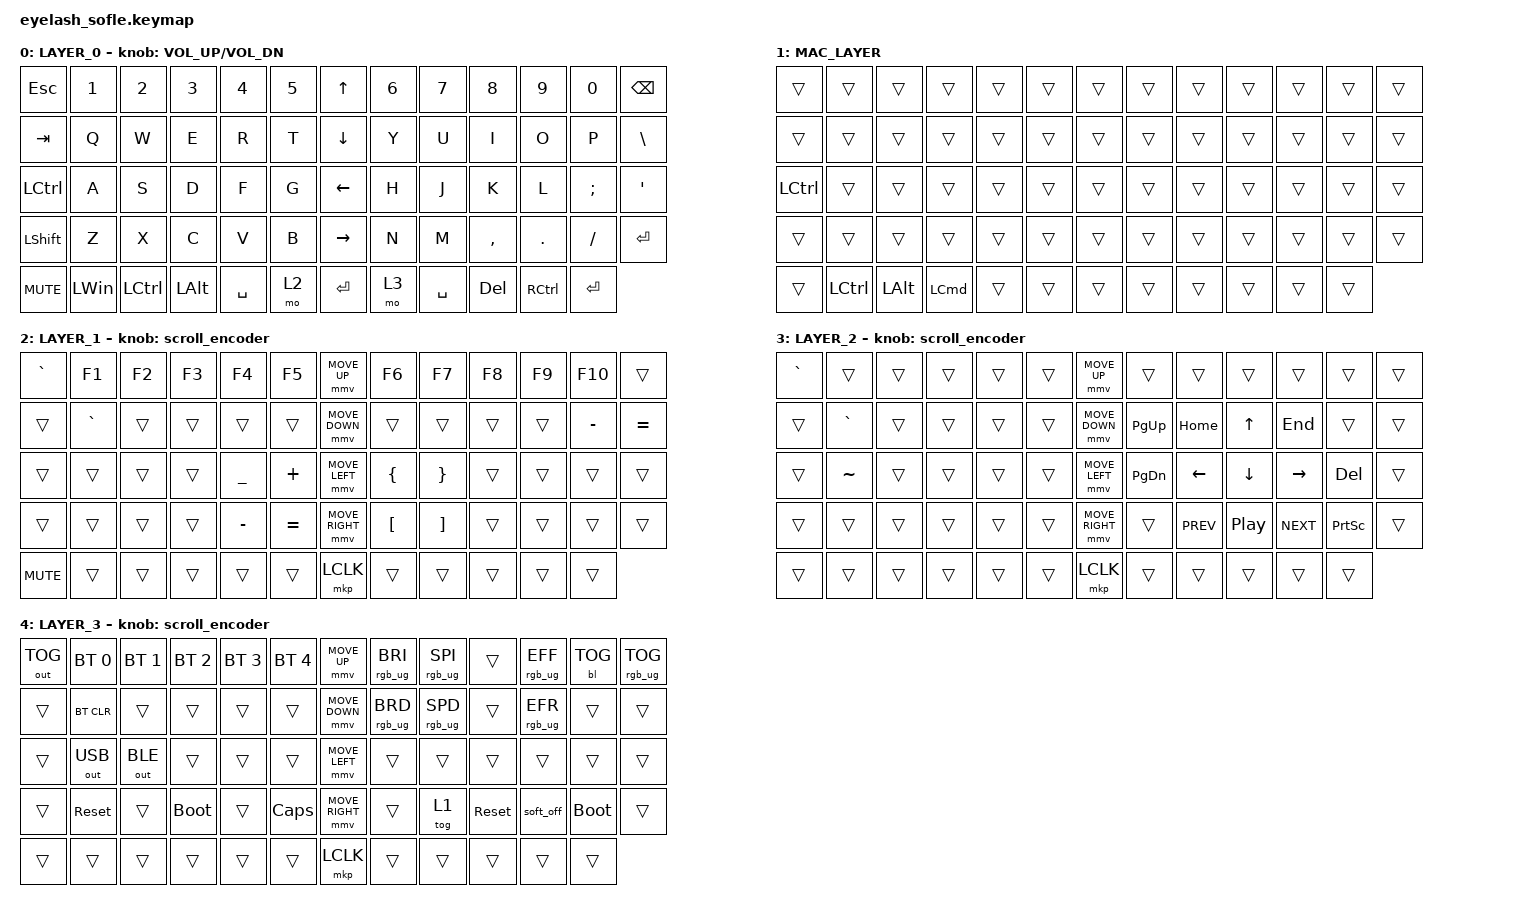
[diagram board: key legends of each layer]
#define ZMK_POINTING_DEFAULT_MOVE_VAL 1200  // 600
#define ZMK_POINTING_DEFAULT_SCRL_VAL 25   // 10

#include <input/processors.dtsi>
#include <zephyr/dt-bindings/input/input-event-codes.h>
#include <behaviors.dtsi>
#include <dt-bindings/zmk/backlight.h>
#include <dt-bindings/zmk/bt.h>
#include <dt-bindings/zmk/keys.h>
#include <dt-bindings/zmk/outputs.h>
#include <dt-bindings/zmk/pointing.h>
#include <dt-bindings/zmk/rgb.h>

&mmv_input_listener { input-processors = <&zip_xy_scaler 2 1>; };

&msc_input_listener { input-processors = <&zip_scroll_scaler 2 1>; };

&msc {
    acceleration-exponent = <1>;      // 0
    time-to-max-speed-ms = <100>;       // 300
    delay-ms = <0>;                   // 0
};

&mmv {
    time-to-max-speed-ms = <500>;
    acceleration-exponent = <1>;
    trigger-period-ms = <16>;
};

/ {
    scroll_encoder: scroll_encoder {
        compatible = "zmk,behavior-sensor-rotate";
        #sensor-binding-cells = <0>;
        bindings = <&msc SCRL_DOWN>, <&msc SCRL_UP>;

        tap-ms = <100>;
    };

    behaviors {
    };

    keymap {
        compatible = "zmk,keymap";

        LAYER_0 {
            bindings = <
&kp ESCAPE        &kp N1        &kp N2            &kp N3        &kp N4     &kp N5    &kp UP_ARROW     &kp N6  &kp N7     &kp N8      &kp N9             &kp N0      &kp BACKSPACE
&kp TAB           &kp Q         &kp W             &kp E         &kp R      &kp T     &kp DOWN_ARROW   &kp Y   &kp U      &kp I       &kp O              &kp P       &kp BSLH
&kp LEFT_CONTROL  &kp A         &kp S             &kp D         &kp F      &kp G     &kp LEFT_ARROW   &kp H   &kp J      &kp K       &kp L              &kp SEMI    &kp APOS
&kp LSHFT         &kp Z         &kp X             &kp C         &kp V      &kp B     &kp RIGHT_ARROW  &kp N   &kp M      &kp COMMA   &kp DOT            &kp FSLH    &kp ENTER
&kp C_MUTE        &kp LEFT_WIN  &kp LEFT_CONTROL  &kp LEFT_ALT  &kp SPACE  &mo 2     &kp ENTER        &mo 3   &kp SPACE  &kp DELETE  &kp RIGHT_CONTROL  &kp RETURN
            >;

            sensor-bindings = <&inc_dec_kp C_VOLUME_UP C_VOL_DN>;
            display-name = "LAYER_0";
        };

        MAC_LAYER {
            bindings = <
&trans     &trans            &trans        &trans    &trans  &trans    &trans  &trans  &trans  &trans  &trans  &trans  &trans
&trans     &trans            &trans        &trans    &trans  &trans    &trans  &trans  &trans  &trans  &trans  &trans  &trans
&kp LCTRL  &trans            &trans        &trans    &trans  &trans    &trans  &trans  &trans  &trans  &trans  &trans  &trans
&trans     &trans            &trans        &trans    &trans  &trans    &trans  &trans  &trans  &trans  &trans  &trans  &trans
&trans     &kp LEFT_CONTROL  &kp LEFT_ALT  &kp LCMD  &trans  &trans    &trans  &trans  &trans  &trans  &trans  &trans
            >;

            display-name = "MAC_LAYER";
        };

        LAYER_1 {
            bindings = <
&kp GRAVE   &kp F1     &kp F2  &kp F3  &kp F4          &kp F5       &mmv MOVE_UP     &kp F6            &kp F7             &kp F8  &kp F9  &kp F10    &trans
&trans      &kp GRAVE  &trans  &trans  &trans          &trans       &mmv MOVE_DOWN   &trans            &trans             &trans  &trans  &kp MINUS  &kp EQUAL
&trans      &trans     &trans  &trans  &kp UNDERSCORE  &kp PLUS     &mmv MOVE_LEFT   &kp LEFT_BRACE    &kp RIGHT_BRACE    &trans  &trans  &trans     &trans
&trans      &trans     &trans  &trans  &kp MINUS       &kp EQUAL    &mmv MOVE_RIGHT  &kp LEFT_BRACKET  &kp RIGHT_BRACKET  &trans  &trans  &trans     &trans
&kp C_MUTE  &trans     &trans  &trans  &trans          &trans       &mkp LCLK        &trans            &trans             &trans  &trans  &trans
            >;

            display-name = "LAYER_1";
            sensor-bindings = <&scroll_encoder>;
        };

        LAYER_2 {
            bindings = <
&kp GRAVE  &trans     &trans  &trans  &trans  &trans    &mmv MOVE_UP     &trans     &trans      &trans            &trans      &trans           &trans
&trans     &kp GRAVE  &trans  &trans  &trans  &trans    &mmv MOVE_DOWN   &kp PG_UP  &kp HOME    &kp UP            &kp END     &trans           &trans
&trans     &kp TILDE  &trans  &trans  &trans  &trans    &mmv MOVE_LEFT   &kp PG_DN  &kp LEFT    &kp DOWN          &kp RIGHT   &kp DELETE       &trans
&trans     &trans     &trans  &trans  &trans  &trans    &mmv MOVE_RIGHT  &trans     &kp C_PREV  &kp C_PLAY_PAUSE  &kp C_NEXT  &kp PRINTSCREEN  &trans
&trans     &trans     &trans  &trans  &trans  &trans    &mkp LCLK        &trans     &trans      &trans            &trans      &trans
            >;

            sensor-bindings = <&scroll_encoder>;
        };

        LAYER_3 {
            bindings = <
&out OUT_TOG  &bt BT_SEL 0  &bt BT_SEL 1  &bt BT_SEL 2  &bt BT_SEL 3  &bt BT_SEL 4    &mmv MOVE_UP     &rgb_ug RGB_BRI  &rgb_ug RGB_SPI  &trans      &rgb_ug RGB_EFF  &bl BL_TOG   &rgb_ug RGB_TOG
&trans        &bt BT_CLR    &trans        &trans        &trans        &trans          &mmv MOVE_DOWN   &rgb_ug RGB_BRD  &rgb_ug RGB_SPD  &trans      &rgb_ug RGB_EFR  &trans       &trans
&trans        &out OUT_USB  &out OUT_BLE  &trans        &trans        &trans          &mmv MOVE_LEFT   &trans           &trans           &trans      &trans           &trans       &trans
&trans        &sys_reset    &trans        &bootloader   &trans        &kp CAPS        &mmv MOVE_RIGHT  &trans           &tog 1           &sys_reset  &soft_off        &bootloader  &trans
&trans        &trans        &trans        &trans        &trans        &trans          &mkp LCLK        &trans           &trans           &trans      &trans           &trans
            >;

            sensor-bindings = <&scroll_encoder>;
        };
    };

    conditional_layers {
        compatible = "zmk,conditional-layers";

        L1+L2 {
            if-layers = <2 3>;
            then-layer = <4>;
        };
    };
};
